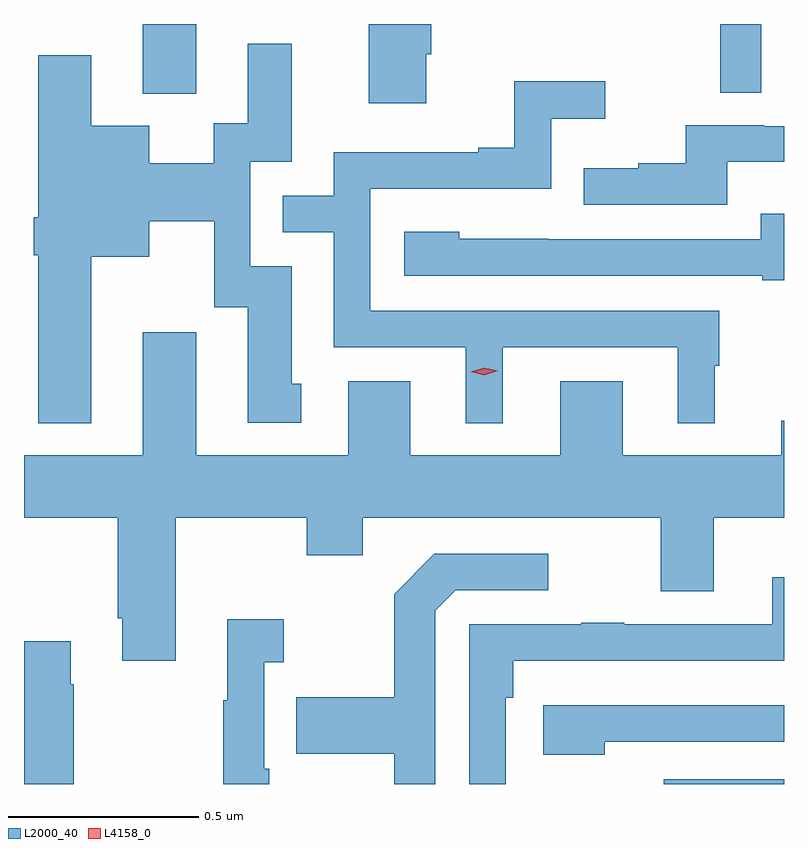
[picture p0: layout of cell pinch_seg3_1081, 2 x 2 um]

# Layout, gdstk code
import gdstk
lib = gdstk.Library(unit=1e-6, precision=1e-09)
def R(c, l, rs):  # rectangles x0, y0, x1, y1
    for r in rs: c.add(gdstk.rectangle(r[:2], r[2:], *l))
def P(c, l, *ps):  # polygons
    for p in ps: c.add(gdstk.Polygon(p, *l))
L2000_40 = (2000, 40)
L4158_0 = (4158, 0)

pinch_seg3_1081 = lib.new_cell('pinch_seg3_1081')
R(pinch_seg3_1081, L2000_40, [(255.211,697.551,255.528,697.563), (253.841,699.368,253.981,699.551), (255.36,699.37,255.468,699.551)])
P(pinch_seg3_1081, L2000_40, [(254.587,699.471),(254.6,699.471),(254.6,699.551),(254.435,699.551),(254.435,699.342),(254.587,699.342)],
  [(253.705,698.939),(253.858,698.939),(253.858,699.032),(254.028,699.032),(254.028,698.805),(254.117,698.805),(254.117,698.502),(254.257,698.502),(254.257,698.604),(254.233,698.604),(254.233,698.913),(254.124,698.913),(254.124,699.189),(254.233,699.189),(254.233,699.499),(254.117,699.499),(254.117,699.29),(254.027,699.29),(254.027,699.184),(253.858,699.184),(253.858,699.283),(253.705,699.283),(253.705,699.469),(253.565,699.469),(253.565,699.043),(253.553,699.043),(253.553,698.943),(253.565,698.943),(253.565,698.501),(253.705,698.501)],
  [(254.788,698.7),(255.248,698.7),(255.248,698.501),(255.346,698.501),(255.346,698.652),(255.358,698.652),(255.358,698.796),(254.439,698.796),(254.439,699.117),(254.916,699.117),(254.916,699.302),(255.058,699.302),(255.058,699.401),(254.818,699.401),(254.818,699.226),(254.723,699.226),(254.723,699.213),(254.343,699.213),(254.343,699.099),(254.209,699.099),(254.209,699.003),(254.343,699.003),(254.343,698.7),(254.69,698.7),(254.69,698.501),(254.788,698.501)],
  [(255.379,699.188),(255.528,699.188),(255.528,699.282),(255.476,699.282),(255.476,699.285),(255.269,699.285),(255.269,699.184),(255.145,699.184),(255.145,699.172),(255.001,699.172),(255.001,699.075),(255.379,699.075)],
  [(255.528,699.052),(255.467,699.052),(255.467,698.985),(254.909,698.985),(254.909,698.986),(254.673,698.986),(254.673,699.004),(254.529,699.004),(254.529,698.889),(255.471,698.889),(255.471,698.877),(255.528,698.877)],
  [(253.927,698.252),(254.272,698.252),(254.272,698.153),(254.419,698.153),(254.419,698.252),(255.203,698.252),(255.203,698.058),(255.343,698.058),(255.343,698.252),(255.528,698.252),(255.528,698.507),(255.521,698.507),(255.521,698.416),(255.103,698.416),(255.103,698.611),(254.939,698.611),(254.939,698.416),(254.545,698.416),(254.545,698.611),(254.381,698.611),(254.381,698.416),(253.981,698.416),(253.981,698.74),(253.841,698.74),(253.841,698.416),(253.528,698.416),(253.528,698.252),(253.775,698.252),(253.775,697.987),(253.787,697.987),(253.787,697.875),(253.927,697.875)],
  [(254.61,698.007),(254.664,698.061),(254.908,698.061),(254.908,698.157),(254.607,698.157),(254.502,698.051),(254.502,697.779),(254.245,697.779),(254.245,697.631),(254.502,697.631),(254.502,697.551),(254.61,697.551)],
  [(254.796,697.778),(254.816,697.778),(254.816,697.875),(255.491,697.875),(255.491,697.876),(255.528,697.876),(255.528,698.095),(255.497,698.095),(255.497,697.971),(255.107,697.971),(255.107,697.976),(254.995,697.976),(254.995,697.971),(254.7,697.971),(254.7,697.551),(254.796,697.551)],
  [(254.173,697.591),(254.16,697.591),(254.16,697.871),(254.212,697.871),(254.212,697.984),(254.063,697.984),(254.063,697.771),(254.052,697.771),(254.052,697.551),(254.173,697.551)],
  [(253.659,697.814),(253.651,697.814),(253.651,697.927),(253.528,697.927),(253.528,697.551),(253.659,697.551)],
  [(255.056,697.662),(255.528,697.662),(255.528,697.758),(254.895,697.758),(254.895,697.628),(255.056,697.628)])
P(pinch_seg3_1081, L4158_0, [(254.739,698.627),(254.703,698.636),(254.703,698.636),(254.703,698.636),(254.739,698.647),(254.775,698.639),(254.775,698.638),(254.775,698.638)])

lib.write_gds('pinch_seg3_1081.gds')
